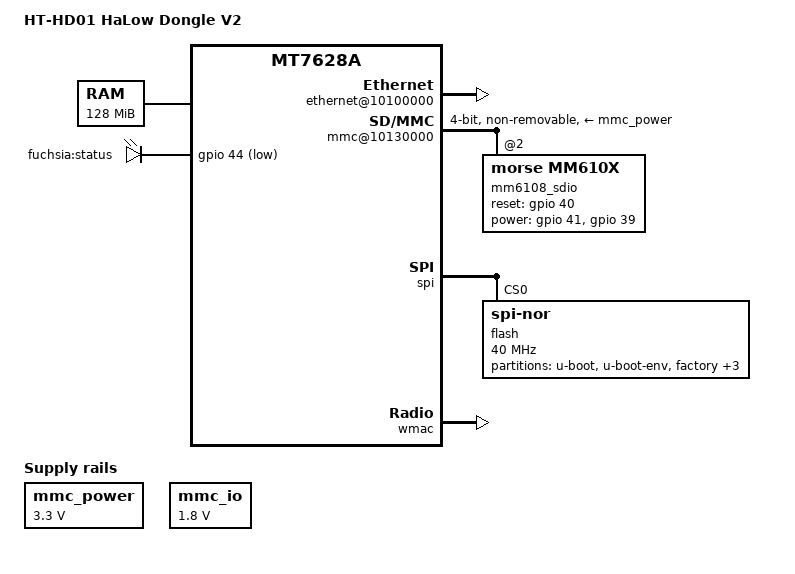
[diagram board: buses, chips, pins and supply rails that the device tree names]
/dts-v1/;

#include "mt7628a.dtsi"
#include <dt-bindings/gpio/gpio.h>

/ {
	compatible = "morse,ekh03v3", "ralink,mt7628a-soc";
	model = "HT-HD01 HaLow Dongle V2";

	aliases {
		serial0 = &uart0;
	};

	chosen {
		bootargs = "console=ttyS0,115200";
		stdout-path = &uart0;
	};

	memory@0 {
		device_type = "memory";
		reg = <0x0 0x8000000>;
	};

	mmc_clock: mmc-clock {
		compatible = "fixed-clock";
		#clock-cells = <0>;
		clock-frequency = <48000000>;
	};

	mmc_power: regulator-mmc-power {
		compatible = "regulator-fixed";
		regulator-name = "mmc_power";
		regulator-min-microvolt = <3300000>;
		regulator-max-microvolt = <3300000>;
		regulator-always-on;
	};

	mmc_io: regulator-mmc-io {
		compatible = "regulator-fixed";
		regulator-name = "mmc_io";
		regulator-min-microvolt = <1800000>;
		regulator-max-microvolt = <1800000>;
		regulator-always-on;
	};

	leds {
		compatible = "gpio-leds";

		status {
			label = "fuchsia:status";
			gpios = <&gpio 44 GPIO_ACTIVE_LOW>;
		};
	};

	/*
	 * MT7628 has no switch driver.  The built-in 5-port switch
	 * is left in the flat, VLAN-disabled state U-Boot programs
	 * (0x98 = 0x7f7f) and the frame engine sees it as one MAC.  The esw
	 * node documents the port map; no driver binds to it.
	 */
	ethernet@10100000 {
		compatible = "ralink,rt5350-eth";
		reg = <0x10100000 0x10000>;
		#address-cells = <1>;
		#size-cells = <0>;
		interrupt-parent = <&cpuintc>;
		interrupts = <5>;
		resets = <&sysc 21>, <&sysc 23>;
		reset-names = "fe", "esw";
		mediatek,switch = <&esw>;

		mac@0 {
			compatible = "mediatek,eth-mac";
			reg = <0>;
			phy-mode = "mii";
			nvmem-cells = <&macaddr_factory_28>;
			nvmem-cell-names = "mac-address";

			fixed-link {
				speed = <100>;
				full-duplex;
			};
		};
	};

	esw: esw@10110000 {
		compatible = "mediatek,mt7628-esw", "ralink,rt3050-esw";
		reg = <0x10110000 0x8000>;
		interrupt-parent = <&intc>;
		interrupts = <17>;
		mediatek,portmap = <0x7>;
		mediatek,portdisable = <0x3a>;
	};

	mmc@10130000 {
		compatible = "mediatek,mt7620-mmc";
		status = "okay";
		reg = <0x10130000 0x4000>;
		#address-cells = <1>;
		#size-cells = <0>;
		interrupt-parent = <&intc>;
		interrupts = <14>;
		clocks = <&mmc_clock>, <&mmc_clock>;
		clock-names = "source", "hclk";
		pinctrl-names = "default", "state_uhs";
		pinctrl-0 = <&pinmux_sdmode_sdxc>;
		pinctrl-1 = <&pinmux_sdmode_sdxc>;
		bus-width = <4>;
		max-frequency = <48000000>;
		cap-sd-highspeed;
		cap-mmc-highspeed;
		cap-sdio-irq;
		non-removable;
		disable-wp;
		vmmc-supply = <&mmc_power>;
		/* The vendor DTS feeds both rails from the same 3.3 V
		 * regulator; the MM6108 does not come up with 1.8 V I/O. */
		vqmmc-supply = <&mmc_power>;

		mm6108_sdio@0 {
			compatible = "morse,mm610x";
			reg = <2>;
			bus-width = <4>;
			reset-gpios = <&gpio 40 GPIO_ACTIVE_HIGH>;
			power-gpios = <&gpio 41 GPIO_ACTIVE_HIGH>,
				      <&gpio 39 GPIO_ACTIVE_HIGH>;
			status = "okay";
		};
	};
};

&spi {
	status = "okay";

	flash@0 {
		compatible = "jedec,spi-nor";
		reg = <0>;
		spi-max-frequency = <40000000>;

		partitions {
			compatible = "fixed-partitions";
			#address-cells = <1>;
			#size-cells = <1>;

			partition@0 {
				label = "u-boot";
				reg = <0x0 0x30000>;
				read-only;
			};

			partition@30000 {
				label = "u-boot-env";
				reg = <0x30000 0x10000>;
			};

			factory: partition@40000 {
				label = "factory";
				reg = <0x40000 0x10000>;
				read-only;
				compatible = "nvmem-cells";
				#address-cells = <1>;
				#size-cells = <1>;

				macaddr_factory_28: macaddr@28 {
					reg = <0x28 0x06>;
				};
			};

			partition@50000 {
				label = "kernel";
				reg = <0x50000 0x400000>;
			};

			partition@450000 {
				label = "rootfs";
				reg = <0x450000 0x1600000>;
			};

			partition@1a50000 {
				label = "overlay";
				reg = <0x1a50000 0x5b0000>;
			};
		};
	};
};

&wmac {
	status = "okay";
	mediatek,mtd-eeprom = <&factory 0x0>;
};
